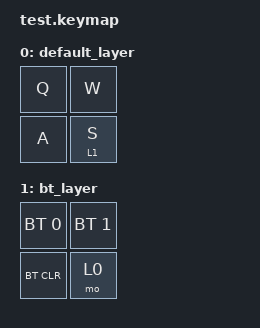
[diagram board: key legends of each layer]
#include <behaviors.dtsi>
#include <dt-bindings/zmk/bt.h>
#include <dt-bindings/zmk/keys.h>
#include <dt-bindings/zmk/pointing.h>

/ {
    keymap {
        compatible = "zmk,keymap";

        default_layer {
            bindings = <
                &kp Q &kp W
                &kp A &lt 1 S
            >;
        };

        bt_layer {
            bindings = <
                &bt BT_SEL 0 &bt BT_SEL 1
                &bt BT_CLR   &mo 0
            >;
        };
    };
};

